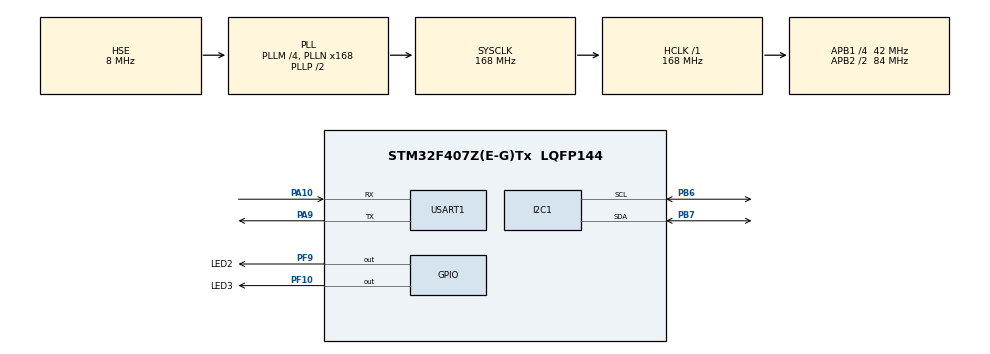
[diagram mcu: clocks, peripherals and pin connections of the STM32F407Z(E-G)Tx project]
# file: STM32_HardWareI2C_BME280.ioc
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Mcu.Family=STM32F4
Mcu.Name=STM32F407Z(E-G)Tx
Mcu.Package=LQFP144
NVIC.PriorityGroup=NVIC_PRIORITYGROUP_4
PA10.Mode=Asynchronous
PA10.Signal=USART1_RX
PA13.Mode=Serial_Wire
PA13.Signal=SYS_JTMS-SWDIO
PA14.Mode=Serial_Wire
PA14.Signal=SYS_JTCK-SWCLK
PA9.Mode=Asynchronous
PA9.Signal=USART1_TX
PB6.Mode=I2C
PB6.Signal=I2C1_SCL
PB7.Mode=I2C
PB7.Signal=I2C1_SDA
PF10.GPIO_Label=LED3
PF10.Signal=GPIO_Output
PF9.GPIO_Label=LED2
PF9.GPIO_PuPd=GPIO_NOPULL
PF9.Signal=GPIO_Output
PH0-OSC_IN.Mode=HSE-External-Oscillator
PH0-OSC_IN.Signal=RCC_OSC_IN
PH1-OSC_OUT.Mode=HSE-External-Oscillator
PH1-OSC_OUT.Signal=RCC_OSC_OUT
ProjectManager.HeapSize=0x200
ProjectManager.StackSize=0x400
ProjectManager.TargetToolchain=MDK-ARM V5
RCC.48MHZClocksFreq_Value=84000000
RCC.AHBFreq_Value=168000000
RCC.APB1CLKDivider=RCC_HCLK_DIV4
RCC.APB1Freq_Value=42000000
RCC.APB1TimFreq_Value=84000000
RCC.APB2CLKDivider=RCC_HCLK_DIV2
RCC.APB2Freq_Value=84000000
RCC.APB2TimFreq_Value=168000000
RCC.CortexFreq_Value=168000000
RCC.HCLKFreq_Value=168000000
RCC.HSE_VALUE=8000000
RCC.HSI_VALUE=16000000
RCC.LSE_VALUE=32768
RCC.PLLM=4
RCC.PLLN=168
RCC.PLLSourceVirtual=RCC_PLLSOURCE_HSE
RCC.SYSCLKFreq_VALUE=168000000
RCC.SYSCLKSource=RCC_SYSCLKSOURCE_PLLCLK
RCC.VCOOutputFreq_Value=336000000
USART1.VirtualMode=VM_ASYNC
board=STM32_HardIIC_Project

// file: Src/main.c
/**
  ******************************************************************************
  * @file           : main.c
  * @brief          : Main program body
  ******************************************************************************
  ** This notice applies to any and all portions of this file
  * that are not between comment pairs USER CODE BEGIN and
  * USER CODE END. Other portions of this file, whether
  * inserted by the user or by software development tools
  * are owned by their respective copyright owners.
  *
  * COPYRIGHT(c) 2018 STMicroelectronics
  *
  * Redistribution and use in source and binary forms, with or without modification,
  * are permitted provided that the following conditions are met:
  *   1. Redistributions of source code must retain the above copyright notice,
  *      this list of conditions and the following disclaimer.
  *   2. Redistributions in binary form must reproduce the above copyright notice,
  *      this list of conditions and the following disclaimer in the documentation
  *      and/or other materials provided with the distribution.
  *   3. Neither the name of STMicroelectronics nor the names of its contributors
  *      may be used to endorse or promote products derived from this software
  *      without specific prior written permission.
  *
  * THIS SOFTWARE IS PROVIDED BY THE COPYRIGHT HOLDERS AND CONTRIBUTORS "AS IS"
  * AND ANY EXPRESS OR IMPLIED WARRANTIES, INCLUDING, BUT NOT LIMITED TO, THE
  * IMPLIED WARRANTIES OF MERCHANTABILITY AND FITNESS FOR A PARTICULAR PURPOSE ARE
  * DISCLAIMED. IN NO EVENT SHALL THE COPYRIGHT HOLDER OR CONTRIBUTORS BE LIABLE
  * FOR ANY DIRECT, INDIRECT, INCIDENTAL, SPECIAL, EXEMPLARY, OR CONSEQUENTIAL
  * DAMAGES (INCLUDING, BUT NOT LIMITED TO, PROCUREMENT OF SUBSTITUTE GOODS OR
  * SERVICES; LOSS OF USE, DATA, OR PROFITS; OR BUSINESS INTERRUPTION) HOWEVER
  * CAUSED AND ON ANY THEORY OF LIABILITY, WHETHER IN CONTRACT, STRICT LIABILITY,
  * OR TORT (INCLUDING NEGLIGENCE OR OTHERWISE) ARISING IN ANY WAY OUT OF THE USE
  * OF THIS SOFTWARE, EVEN IF ADVISED OF THE POSSIBILITY OF SUCH DAMAGE.
  *
  ******************************************************************************
  */
#include "main.h"
#include "stm32f4xx_hal.h"
#include "i2c.h"
#include "usart.h"
#include "gpio.h"

/* USER CODE BEGIN Includes */
#include "bme280_application.h"
/* USER CODE END Includes */

/* USER CODE BEGIN PV */
/* Private variables ---------------------------------------------------------*/

/* USER CODE END PV */

void SystemClock_Config(void);

/* USER CODE BEGIN PFP */
/* Private function prototypes -----------------------------------------------*/

/* USER CODE END PFP */

int main(void)
{

  /* MCU Configuration----------------------------------------------------------*/

  /* Reset of all peripherals, Initializes the Flash interface and the Systick. */
  HAL_Init();

  /* Configure the system clock */
  SystemClock_Config();

  /* Initialize all configured peripherals */
  MX_GPIO_Init();
  MX_I2C1_Init();
  MX_USART1_UART_Init();
  /* USER CODE BEGIN 2 */
  HAL_GPIO_WritePin(LED2_GPIO_Port, LED2_Pin, GPIO_PIN_RESET);
  HAL_GPIO_WritePin(LED3_GPIO_Port, LED3_Pin, GPIO_PIN_RESET);

  struct bme280_dev dev;
  int8_t rslt = BME280_OK;

  dev.dev_id = BME280_I2C_ADDR_SEC;
  dev.intf = BME280_I2C_INTF;
  dev.read = user_i2c_read;
  dev.write = user_i2c_write;
  dev.delay_ms = user_delay_ms;

  rslt = bme280_init(&dev);
  printf("The init result is:%d\r\n",rslt);

  //before you init bme280, you can choose to do a selftest
  rslt = bme280_crc_selftest(&dev);
  if(rslt == 0)
  {
    printf("BME280 self test pass\r\n");
  }

  /* USER CODE END 2 */

  /* Infinite loop */
  while (1)
  {

  /* USER CODE BEGIN 3 */
	  stream_sensor_data_normal_mode(&dev);
  }
  /* USER CODE END 3 */

}

void SystemClock_Config(void)
{

  RCC_OscInitTypeDef RCC_OscInitStruct;
  RCC_ClkInitTypeDef RCC_ClkInitStruct;

    /**Configure the main internal regulator output voltage
    */
  __HAL_RCC_PWR_CLK_ENABLE();

  __HAL_PWR_VOLTAGESCALING_CONFIG(PWR_REGULATOR_VOLTAGE_SCALE1);

    /**Initializes the CPU, AHB and APB busses clocks
    */
  RCC_OscInitStruct.OscillatorType = RCC_OSCILLATORTYPE_HSE;
  RCC_OscInitStruct.HSEState = RCC_HSE_ON;
  RCC_OscInitStruct.PLL.PLLState = RCC_PLL_ON;
  RCC_OscInitStruct.PLL.PLLSource = RCC_PLLSOURCE_HSE;
  RCC_OscInitStruct.PLL.PLLM = 4;
  RCC_OscInitStruct.PLL.PLLN = 168;
  RCC_OscInitStruct.PLL.PLLP = RCC_PLLP_DIV2;
  RCC_OscInitStruct.PLL.PLLQ = 4;
  if (HAL_RCC_OscConfig(&RCC_OscInitStruct) != HAL_OK)
  {
    _Error_Handler(__FILE__, __LINE__);
  }

    /**Initializes the CPU, AHB and APB busses clocks
    */
  RCC_ClkInitStruct.ClockType = RCC_CLOCKTYPE_HCLK|RCC_CLOCKTYPE_SYSCLK
                              |RCC_CLOCKTYPE_PCLK1|RCC_CLOCKTYPE_PCLK2;
  RCC_ClkInitStruct.SYSCLKSource = RCC_SYSCLKSOURCE_PLLCLK;
  RCC_ClkInitStruct.AHBCLKDivider = RCC_SYSCLK_DIV1;
  RCC_ClkInitStruct.APB1CLKDivider = RCC_HCLK_DIV4;
  RCC_ClkInitStruct.APB2CLKDivider = RCC_HCLK_DIV2;

  if (HAL_RCC_ClockConfig(&RCC_ClkInitStruct, FLASH_LATENCY_5) != HAL_OK)
  {
    _Error_Handler(__FILE__, __LINE__);
  }

    /**Configure the Systick interrupt time
    */
  HAL_SYSTICK_Config(HAL_RCC_GetHCLKFreq()/1000);

    /**Configure the Systick
    */
  HAL_SYSTICK_CLKSourceConfig(SYSTICK_CLKSOURCE_HCLK);

  /* SysTick_IRQn interrupt configuration */
  HAL_NVIC_SetPriority(SysTick_IRQn, 0, 0);
}

void _Error_Handler(char *file, int line)
{
  while(1)
  {
  }
}

/************************ (C) COPYRIGHT STMicroelectronics *****END OF FILE****/
